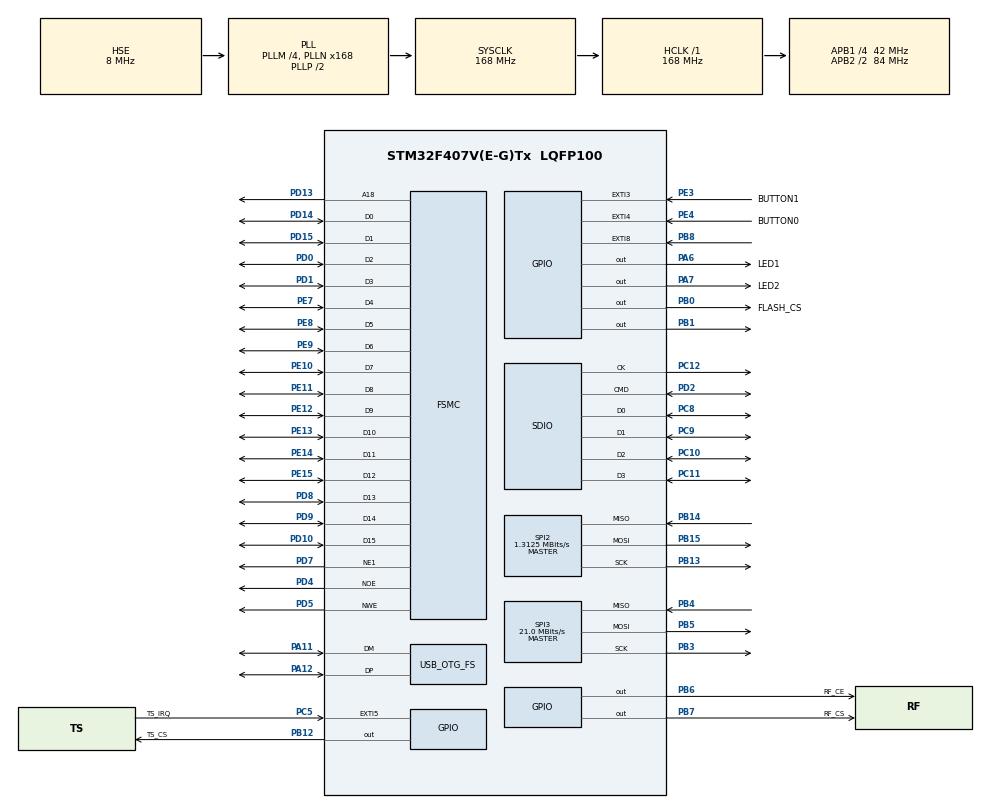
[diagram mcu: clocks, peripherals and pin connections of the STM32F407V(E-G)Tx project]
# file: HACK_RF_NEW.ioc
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Mcu.Family=STM32F4
PD7.Mode=NorPsramChipSelect1_1
USB_DEVICE.CLASS_NAME_FS=MSC
PH0-OSC_IN.Signal=RCC_OSC_IN
RCC.CortexFreq_Value=168000000
SPI3.Direction=SPI_DIRECTION_2LINES
SPI3.VirtualType=VM_MASTER
SPI2.VirtualType=VM_MASTER
PC10.Signal=SDIO_D2
PC12.Signal=SDIO_CK
NVIC.EXTI3_IRQn=true\:0\:0\:false\:false\:true\:true\:true
PA11.Mode=Device_Only
PB0.GPIO_Label=FLASH_CS
PA6.GPIO_Label=LED1
PB6.GPIO_Label=RF_CE
PB13.Signal=SPI2_SCK
PB15.Signal=SPI2_MOSI
PD9.Mode=16b-d1
RCC.SYSCLKSource=RCC_SYSCLKSOURCE_PLLCLK
ProjectManager.StackSize=0x2000
PD13.Signal=FSMC_A18
PA12.Signal=USB_OTG_FS_DP
PE11.Mode=16b-d1
PA7.PinState=GPIO_PIN_SET
RCC.HCLKFreq_Value=168000000
PD4.Signal=FSMC_NOE
RCC.APB2TimFreq_Value=168000000
PB6.Signal=GPIO_Output
PB12.PinState=GPIO_PIN_SET
PD10.Mode=16b-d1
PD0.Signal=FSMC_D2
PD8.Signal=FSMC_D13
RCC.HSICalibrationValue=8
RCC.AHBFreq_Value=168000000
SPI2.BaudRatePrescaler=SPI_BAUDRATEPRESCALER_32
PH0-OSC_IN.Mode=HSE-External-Oscillator
PD5.Mode=Lcd1
RCC.HSE_VALUE=8000000
PB3.Mode=Full_Duplex_Master
PB12.GPIO_Label=TS_CS
PB4.Mode=Full_Duplex_Master
PE13.Signal=FSMC_D10
PC14-OSC32_IN.Mode=LSE-External-Oscillator
PE9.Signal=FSMC_D6
PA14.Mode=Serial_Wire
PD14.Mode=16b-d1
PB14.Mode=Full_Duplex_Master
PB5.Mode=Full_Duplex_Master
PE4.GPIO_Label=BUTTON0
PC9.Mode=SD_4_bits_Wide_bus
SPI2.CalculateBaudRate=1.3125 MBits/s
PB7.Signal=GPIO_Output
PE13.Mode=16b-d1
PE4.Signal=GPXTI4
PE10.Signal=FSMC_D7
PB7.PinState=GPIO_PIN_RESET
PH1-OSC_OUT.Mode=HSE-External-Oscillator
PD15.Mode=16b-d1
PB7.GPIO_Label=RF_CS
Mcu.Package=LQFP100
PB1.Signal=GPIO_Output
PA6.Signal=GPIO_Output
SPI2.Mode=SPI_MODE_MASTER
SPI3.Mode=SPI_MODE_MASTER
NVIC.OTG_FS_IRQn=true\:0\:0\:false\:false\:true\:true\:true
USB_OTG_FS.VirtualMode=Device_Only
PE9.Mode=16b-d1
PC11.Mode=SD_4_bits_Wide_bus
RCC.APB2CLKDivider=RCC_HCLK_DIV2
PD4.Mode=Lcd1
RCC.APB1TimFreq_Value=84000000
SPI2.Direction=SPI_DIRECTION_2LINES
PC5.Signal=GPXTI5
VP_USB_DEVICE_VS_USB_DEVICE_MSC_FS.Mode=MSC_FS
PB13.Mode=Full_Duplex_Master
PE7.Signal=FSMC_D4
PD15.Signal=FSMC_D1
PB4.Signal=SPI3_MISO
PB7.GPIO_Speed=GPIO_SPEED_FREQ_HIGH
PE12.Mode=16b-d1
PC15-OSC32_OUT.Mode=LSE-External-Oscillator
USB_DEVICE.VirtualMode-MSC_FS=Msc
NVIC.EXTI4_IRQn=true\:0\:0\:false\:false\:true\:true\:true
NVIC.HASH_RNG_IRQn=true\:0\:0\:false\:false\:true\:true\:true
USB_DEVICE.VirtualModeFS=Msc_FS
PC11.Signal=SDIO_D3
PC8.Signal=SDIO_D0
PB8.GPIO_PuPd=GPIO_PULLUP
PE10.Mode=16b-d1
PC10.Mode=SD_4_bits_Wide_bus
PD7.Signal=FSMC_NE1
PD1.Signal=FSMC_D3
PD5.Signal=FSMC_NWE
PD9.Signal=FSMC_D14
PA6.PinState=GPIO_PIN_SET
VP_RNG_VS_RNG.Mode=RNG_Activate
RCC.APB1CLKDivider=RCC_HCLK_DIV4
PC14-OSC32_IN.Signal=RCC_OSC32_IN
PC5.GPIO_PuPd=GPIO_PULLUP
NVIC.SDIO_IRQn=true\:0\:0\:false\:false\:true\:true\:true
PA0-WKUP.Signal=SYS_WKUP
PB0.GPIO_Speed=GPIO_SPEED_FREQ_HIGH
SDIO.ClockBypass=SDIO_CLOCK_BYPASS_DISABLE
PE8.Mode=16b-d1
PA0-WKUP.Mode=SYS_WakeUp0
PD10.Signal=FSMC_D15
PA13.Signal=SYS_JTMS-SWDIO
ProjectManager.TargetToolchain=Makefile
PD13.Mode=A18_1
PE11.Signal=FSMC_D8
PC15-OSC32_OUT.Signal=RCC_OSC32_OUT
PD8.Mode=16b-d1
PB12.GPIO_Speed=GPIO_SPEED_FREQ_HIGH
PB14.Signal=SPI2_MISO
PD2.Mode=SD_4_bits_Wide_bus
PC12.Mode=SD_4_bits_Wide_bus
board=custom
RCC.VCOOutputFreq_Value=336000000
PB15.Mode=Full_Duplex_Master
PD1.Mode=16b-d1
RCC.APB2Freq_Value=84000000
PE14.Signal=FSMC_D11
SPI3.CalculateBaudRate=21.0 MBits/s
PE15.Signal=FSMC_D12
PE8.Signal=FSMC_D5
PE14.Mode=16b-d1
PE3.GPIO_PuPd=GPIO_PULLUP
PH1-OSC_OUT.Signal=RCC_OSC_OUT
PA13.Mode=Serial_Wire
Mcu.Name=STM32F407V(E-G)Tx
PD0.Mode=16b-d1
PE12.Signal=FSMC_D9
PE4.GPIO_PuPd=GPIO_PULLUP
PD14.Signal=FSMC_D0
PC8.Mode=SD_4_bits_Wide_bus
RCC.48MHZClocksFreq_Value=48000000
PB3.Signal=SPI3_SCK
RCC.SYSCLKFreq_VALUE=168000000
PE7.Mode=16b-d1
PB5.Signal=SPI3_MOSI
PA7.GPIO_Label=LED2
PA12.Mode=Device_Only
PC5.GPIO_Label=TS_IRQ
PA11.Signal=USB_OTG_FS_DM
NVIC.EXTI9_5_IRQn=true\:0\:0\:false\:false\:true\:true\:true
PA14.Signal=SYS_JTCK-SWCLK
ProjectManager.HeapSize=0x2000
RCC.HSI_VALUE=16000000
RCC.PLLQ=7
NVIC.PriorityGroup=NVIC_PRIORITYGROUP_4
RCC.PLLM=4
SDIO.HardwareFlowControl=SDIO_HARDWARE_FLOW_CONTROL_ENABLE
RCC.PLLN=168
PE3.Signal=GPXTI3
PB8.Signal=GPXTI8
PE3.GPIO_Label=BUTTON1
PC9.Signal=SDIO_D1
PD2.Signal=SDIO_CMD
PB6.GPIO_Speed=GPIO_SPEED_FREQ_HIGH
PB12.GPIO_PuPd=GPIO_PULLUP
RCC.APB1Freq_Value=42000000
PB0.Signal=GPIO_Output
PB12.Signal=GPIO_Output
PE15.Mode=16b-d1
PA7.Signal=GPIO_Output

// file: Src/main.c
/* USER CODE BEGIN Header */
/**
  ******************************************************************************
  * @file           : main.c
  * @brief          : Main program body
  ******************************************************************************
  * @attention
  *
  * <h2><center>&copy; Copyright (c) 2021 STMicroelectronics.
  * All rights reserved.</center></h2>
  *
  * This software component is licensed by ST under Ultimate Liberty license
  * SLA0044, the "License"; You may not use this file except in compliance with
  * the License. You may obtain a copy of the License at:
  *                             www.st.com/SLA0044
  *
  ******************************************************************************
  */
/* USER CODE END Header */

#include "main.h"
#include "usb_device.h"

/* USER CODE BEGIN Includes */
#include "ILI9341_STM32_Driver.h"
#include "ILI9341_GFX.h"
#include <stdbool.h>
#include "../lvgl/lvgl.h"
#include "../lv_examples/lv_examples.h"
#include "touchpad.h"
#include "XPT2046_lv.h"
/* USER CODE END Includes */

RNG_HandleTypeDef hrng;

SD_HandleTypeDef hsd;

SPI_HandleTypeDef hspi2;
SPI_HandleTypeDef hspi3;

SRAM_HandleTypeDef hsram1;

/* USER CODE BEGIN PV */
DMA_HandleTypeDef hdma_memtomem_dma2_stream0;
/*
  extern int16_t last_x;
  extern int16_t last_y;
  extern uint8_t last_state;
  */
  extern uint8_t isTouched;
  uint16_t x = 0, y = 0;
/* USER CODE END PV */

void SystemClock_Config(void);
static void MX_GPIO_Init(void);
static void MX_FSMC_Init(void);
static void MX_RNG_Init(void);
static void MX_SDIO_SD_Init(void);
static void MX_SPI2_Init(void);
static void MX_SPI3_Init(void);

int main(void)
{

  /* MCU Configuration--------------------------------------------------------*/

  /* Reset of all peripherals, Initializes the Flash interface and the Systick. */
  HAL_Init();

  /* Configure the system clock */
  SystemClock_Config();

  /* Initialize all configured peripherals */
  MX_GPIO_Init();
  MX_FSMC_Init();
  MX_RNG_Init();
  MX_SDIO_SD_Init();
  MX_SPI2_Init();
  MX_USB_DEVICE_Init();
  MX_SPI3_Init();
  /* USER CODE BEGIN 2 */

  lv_init();
  ILI9341_Init();
  lv_touchpad_init();
  HAL_Delay(100);
  //lv_demo_benchmark();
   lv_demo_widgets();
  /* USER CODE END 2 */

  /* Infinite loop */
  /* USER CODE BEGIN WHILE */
  while (1)
  {
//lcd_random_circles();
//lcd_random_lines();
//lcd_random_points();
//lcd_fill_rand_colors();
//lcd_random_rectangles();
//ILI9341_Draw_Filled_Circle(last_x - 2, 240 - last_y - 2, 4, RED);
lv_task_handler();
HAL_Delay(5);
    /* USER CODE END WHILE */

  }
}

void SystemClock_Config(void)
{
  RCC_OscInitTypeDef RCC_OscInitStruct = {0};
  RCC_ClkInitTypeDef RCC_ClkInitStruct = {0};

  /** Configure the main internal regulator output voltage
  */
  __HAL_RCC_PWR_CLK_ENABLE();
  __HAL_PWR_VOLTAGESCALING_CONFIG(PWR_REGULATOR_VOLTAGE_SCALE1);
  /** Initializes the CPU, AHB and APB busses clocks
  */
  RCC_OscInitStruct.OscillatorType = RCC_OSCILLATORTYPE_HSE;
  RCC_OscInitStruct.HSEState = RCC_HSE_ON;
  RCC_OscInitStruct.PLL.PLLState = RCC_PLL_ON;
  RCC_OscInitStruct.PLL.PLLSource = RCC_PLLSOURCE_HSE;
  RCC_OscInitStruct.PLL.PLLM = 4;
  RCC_OscInitStruct.PLL.PLLN = 168;
  RCC_OscInitStruct.PLL.PLLP = RCC_PLLP_DIV2;
  RCC_OscInitStruct.PLL.PLLQ = 7;
  if (HAL_RCC_OscConfig(&RCC_OscInitStruct) != HAL_OK)
  {
    Error_Handler();
  }
  /** Initializes the CPU, AHB and APB busses clocks
  */
  RCC_ClkInitStruct.ClockType = RCC_CLOCKTYPE_HCLK|RCC_CLOCKTYPE_SYSCLK
                              |RCC_CLOCKTYPE_PCLK1|RCC_CLOCKTYPE_PCLK2;
  RCC_ClkInitStruct.SYSCLKSource = RCC_SYSCLKSOURCE_PLLCLK;
  RCC_ClkInitStruct.AHBCLKDivider = RCC_SYSCLK_DIV1;
  RCC_ClkInitStruct.APB1CLKDivider = RCC_HCLK_DIV4;
  RCC_ClkInitStruct.APB2CLKDivider = RCC_HCLK_DIV2;

  if (HAL_RCC_ClockConfig(&RCC_ClkInitStruct, FLASH_LATENCY_5) != HAL_OK)
  {
    Error_Handler();
  }
}

static void MX_RNG_Init(void)
{

  hrng.Instance = RNG;
  if (HAL_RNG_Init(&hrng) != HAL_OK)
  {
    Error_Handler();
  }

}

static void MX_SDIO_SD_Init(void)
{

  hsd.Instance = SDIO;
  hsd.Init.ClockEdge = SDIO_CLOCK_EDGE_RISING;
  hsd.Init.ClockBypass = SDIO_CLOCK_BYPASS_DISABLE;
  hsd.Init.ClockPowerSave = SDIO_CLOCK_POWER_SAVE_DISABLE;
  hsd.Init.BusWide = SDIO_BUS_WIDE_1B;
  hsd.Init.HardwareFlowControl = SDIO_HARDWARE_FLOW_CONTROL_ENABLE;
  hsd.Init.ClockDiv = 0;
  if (HAL_SD_Init(&hsd) != HAL_OK)
  {
    Error_Handler();
  }
  if (HAL_SD_ConfigWideBusOperation(&hsd, SDIO_BUS_WIDE_4B) != HAL_OK)
  {
    Error_Handler();
  }

}

static void MX_SPI2_Init(void)
{

  /* SPI2 parameter configuration*/
  hspi2.Instance = SPI2;
  hspi2.Init.Mode = SPI_MODE_MASTER;
  hspi2.Init.Direction = SPI_DIRECTION_2LINES;
  hspi2.Init.DataSize = SPI_DATASIZE_8BIT;
  hspi2.Init.CLKPolarity = SPI_POLARITY_LOW;
  hspi2.Init.CLKPhase = SPI_PHASE_1EDGE;
  hspi2.Init.NSS = SPI_NSS_SOFT;
  hspi2.Init.BaudRatePrescaler = SPI_BAUDRATEPRESCALER_32;
  hspi2.Init.FirstBit = SPI_FIRSTBIT_MSB;
  hspi2.Init.TIMode = SPI_TIMODE_DISABLE;
  hspi2.Init.CRCCalculation = SPI_CRCCALCULATION_DISABLE;
  hspi2.Init.CRCPolynomial = 10;
  if (HAL_SPI_Init(&hspi2) != HAL_OK)
  {
    Error_Handler();
  }

}

static void MX_SPI3_Init(void)
{

  /* SPI3 parameter configuration*/
  hspi3.Instance = SPI3;
  hspi3.Init.Mode = SPI_MODE_MASTER;
  hspi3.Init.Direction = SPI_DIRECTION_2LINES;
  hspi3.Init.DataSize = SPI_DATASIZE_8BIT;
  hspi3.Init.CLKPolarity = SPI_POLARITY_LOW;
  hspi3.Init.CLKPhase = SPI_PHASE_1EDGE;
  hspi3.Init.NSS = SPI_NSS_SOFT;
  hspi3.Init.BaudRatePrescaler = SPI_BAUDRATEPRESCALER_2;
  hspi3.Init.FirstBit = SPI_FIRSTBIT_MSB;
  hspi3.Init.TIMode = SPI_TIMODE_DISABLE;
  hspi3.Init.CRCCalculation = SPI_CRCCALCULATION_DISABLE;
  hspi3.Init.CRCPolynomial = 10;
  if (HAL_SPI_Init(&hspi3) != HAL_OK)
  {
    Error_Handler();
  }

}

static void MX_GPIO_Init(void)
{
  GPIO_InitTypeDef GPIO_InitStruct = {0};

  /* GPIO Ports Clock Enable */
  __HAL_RCC_GPIOE_CLK_ENABLE();
  __HAL_RCC_GPIOC_CLK_ENABLE();
  __HAL_RCC_GPIOH_CLK_ENABLE();
  __HAL_RCC_GPIOA_CLK_ENABLE();
  __HAL_RCC_GPIOB_CLK_ENABLE();
  __HAL_RCC_GPIOD_CLK_ENABLE();

  /*Configure GPIO pin Output Level */
  HAL_GPIO_WritePin(GPIOA, LED1_Pin|LED2_Pin, GPIO_PIN_SET);

  /*Configure GPIO pin Output Level */
  HAL_GPIO_WritePin(GPIOB, FLASH_CS_Pin|GPIO_PIN_1|RF_CE_Pin|RF_CS_Pin, GPIO_PIN_RESET);

  /*Configure GPIO pin Output Level */
  HAL_GPIO_WritePin(TS_CS_GPIO_Port, TS_CS_Pin, GPIO_PIN_SET);

  /*Configure GPIO pins : BUTTON1_Pin BUTTON0_Pin */
  GPIO_InitStruct.Pin = BUTTON1_Pin|BUTTON0_Pin;
  GPIO_InitStruct.Mode = GPIO_MODE_IT_RISING;
  GPIO_InitStruct.Pull = GPIO_PULLUP;
  HAL_GPIO_Init(GPIOE, &GPIO_InitStruct);

  /*Configure GPIO pins : LED1_Pin LED2_Pin */
  GPIO_InitStruct.Pin = LED1_Pin|LED2_Pin;
  GPIO_InitStruct.Mode = GPIO_MODE_OUTPUT_PP;
  GPIO_InitStruct.Pull = GPIO_NOPULL;
  GPIO_InitStruct.Speed = GPIO_SPEED_FREQ_LOW;
  HAL_GPIO_Init(GPIOA, &GPIO_InitStruct);

  /*Configure GPIO pin : TS_IRQ_Pin */
  GPIO_InitStruct.Pin = TS_IRQ_Pin;
  GPIO_InitStruct.Mode = GPIO_MODE_IT_FALLING;
  GPIO_InitStruct.Pull = GPIO_PULLUP;
  HAL_GPIO_Init(TS_IRQ_GPIO_Port, &GPIO_InitStruct);

  /*Configure GPIO pins : FLASH_CS_Pin RF_CE_Pin RF_CS_Pin */
  GPIO_InitStruct.Pin = FLASH_CS_Pin|RF_CE_Pin|RF_CS_Pin;
  GPIO_InitStruct.Mode = GPIO_MODE_OUTPUT_PP;
  GPIO_InitStruct.Pull = GPIO_NOPULL;
  GPIO_InitStruct.Speed = GPIO_SPEED_FREQ_HIGH;
  HAL_GPIO_Init(GPIOB, &GPIO_InitStruct);

  /*Configure GPIO pin : PB1 */
  GPIO_InitStruct.Pin = GPIO_PIN_1;
  GPIO_InitStruct.Mode = GPIO_MODE_OUTPUT_PP;
  GPIO_InitStruct.Pull = GPIO_NOPULL;
  GPIO_InitStruct.Speed = GPIO_SPEED_FREQ_LOW;
  HAL_GPIO_Init(GPIOB, &GPIO_InitStruct);

  /*Configure GPIO pin : TS_CS_Pin */
  GPIO_InitStruct.Pin = TS_CS_Pin;
  GPIO_InitStruct.Mode = GPIO_MODE_OUTPUT_PP;
  GPIO_InitStruct.Pull = GPIO_PULLUP;
  GPIO_InitStruct.Speed = GPIO_SPEED_FREQ_HIGH;
  HAL_GPIO_Init(TS_CS_GPIO_Port, &GPIO_InitStruct);

  /*Configure GPIO pin : PB8 */
  GPIO_InitStruct.Pin = GPIO_PIN_8;
  GPIO_InitStruct.Mode = GPIO_MODE_IT_RISING;
  GPIO_InitStruct.Pull = GPIO_PULLUP;
  HAL_GPIO_Init(GPIOB, &GPIO_InitStruct);

  /* EXTI interrupt init*/
  HAL_NVIC_SetPriority(EXTI3_IRQn, 0, 0);
  HAL_NVIC_EnableIRQ(EXTI3_IRQn);

  HAL_NVIC_SetPriority(EXTI4_IRQn, 0, 0);
  HAL_NVIC_EnableIRQ(EXTI4_IRQn);

  HAL_NVIC_SetPriority(EXTI9_5_IRQn, 15, 15);
  HAL_NVIC_EnableIRQ(EXTI9_5_IRQn);

}

/* FSMC initialization function */
static void MX_FSMC_Init(void)
{

  FSMC_NORSRAM_TimingTypeDef Timing = {0};

  /** Perform the SRAM1 memory initialization sequence
  */
  hsram1.Instance = FSMC_NORSRAM_DEVICE;
  hsram1.Extended = FSMC_NORSRAM_EXTENDED_DEVICE;
  /* hsram1.Init */
  hsram1.Init.NSBank = FSMC_NORSRAM_BANK1;
  hsram1.Init.DataAddressMux = FSMC_DATA_ADDRESS_MUX_DISABLE;
  hsram1.Init.MemoryType = FSMC_MEMORY_TYPE_SRAM;
  hsram1.Init.MemoryDataWidth = FSMC_NORSRAM_MEM_BUS_WIDTH_16;
  hsram1.Init.BurstAccessMode = FSMC_BURST_ACCESS_MODE_DISABLE;
  hsram1.Init.WaitSignalPolarity = FSMC_WAIT_SIGNAL_POLARITY_LOW;
  hsram1.Init.WrapMode = FSMC_WRAP_MODE_DISABLE;
  hsram1.Init.WaitSignalActive = FSMC_WAIT_TIMING_BEFORE_WS;
  hsram1.Init.WriteOperation = FSMC_WRITE_OPERATION_ENABLE;
  hsram1.Init.WaitSignal = FSMC_WAIT_SIGNAL_DISABLE;
  hsram1.Init.ExtendedMode = FSMC_EXTENDED_MODE_DISABLE;
  hsram1.Init.AsynchronousWait = FSMC_ASYNCHRONOUS_WAIT_DISABLE;
  hsram1.Init.WriteBurst = FSMC_WRITE_BURST_DISABLE;
  hsram1.Init.PageSize = FSMC_PAGE_SIZE_NONE;
  /* Timing */
  Timing.AddressSetupTime = 1;
  Timing.AddressHoldTime = 1;
  Timing.DataSetupTime = 1;
  Timing.BusTurnAroundDuration = 5;
  Timing.CLKDivision = 5;
  Timing.DataLatency = 2;

  Timing.AccessMode = FSMC_ACCESS_MODE_A;
  /* ExtTiming */

  if (HAL_SRAM_Init(&hsram1, &Timing, NULL) != HAL_OK)
  {
    Error_Handler( );
  }

}

/* USER CODE BEGIN 4 */

void HAL_GPIO_EXTI_Callback(uint16_t GPIO_Pin)

{
  switch(GPIO_Pin)
  {
    case TS_IRQ_Pin:

         if(xpt2046_getXY(&x, &y))
         {
           //lv_task_handler();

         }
         lv_task_handler();

    break;

    default:
    __NOP();

  }

}
/* USER CODE END 4 */

void Error_Handler(void)
{
}

/************************ (C) COPYRIGHT STMicroelectronics *****END OF FILE****/
